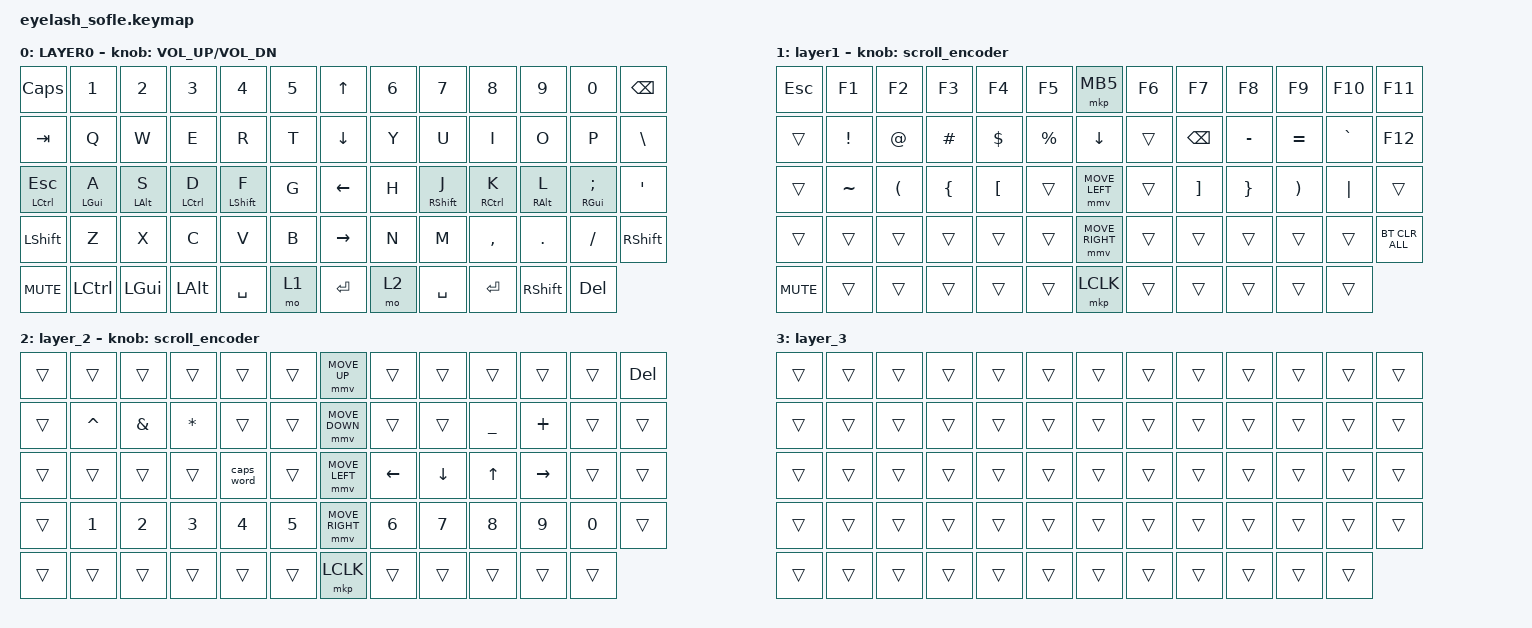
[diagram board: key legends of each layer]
#define ZMK_POINTING_DEFAULT_MOVE_VAL 1200  // 600
#define ZMK_POINTING_DEFAULT_SCRL_VAL 35    // 10

#include <input/processors.dtsi>
#include <zephyr/dt-bindings/input/input-event-codes.h>
#include <behaviors.dtsi>
#include <dt-bindings/zmk/bt.h>
#include <dt-bindings/zmk/keys.h>
#include <dt-bindings/zmk/pointing.h>

/ {
    zip_scroll_scaler: zip_scroll_scaler {
        compatible = "zmk,input-processor-scaler";
        #input-processor-cells = <2>;
        type = <INPUT_EV_REL>;
        codes = <INPUT_REL_WHEEL INPUT_REL_HWHEEL>;
        track-remainders;
    };
};

&mmv_input_listener { input-processors = <&zip_xy_scaler 2 1>; };

&msc_input_listener { input-processors = <&zip_scroll_scaler 2 1>; };

&msc {
    acceleration-exponent = <0>;      // 0
    time-to-max-speed-ms = <0>;       // 300
    delay-ms = <0>;                   // 0
};

&mmv {
    time-to-max-speed-ms = <400>;
    acceleration-exponent = <1>;
};

/ {
    scroll_encoder: scroll_encoder {
        compatible = "zmk,behavior-sensor-rotate";
        #sensor-binding-cells = <0>;
        bindings = <&msc SCRL_DOWN>, <&msc SCRL_UP>;

        tap-ms = <30>;
    };

    behaviors {
        // Homerow mods - matching Kanata config
        // Left hand
        hm_a: homerow_mod_a {
            compatible = "zmk,behavior-hold-tap";
            #binding-cells = <2>;
            flavor = "tap-preferred";
            tapping-term-ms = <200>;
            quick-tap-ms = <200>;
            bindings = <&kp>, <&kp>;
        };
        hm_s: homerow_mod_s {
            compatible = "zmk,behavior-hold-tap";
            #binding-cells = <2>;
            flavor = "tap-preferred";
            tapping-term-ms = <200>;
            quick-tap-ms = <200>;
            bindings = <&kp>, <&kp>;
        };
        hm_d: homerow_mod_d {
            compatible = "zmk,behavior-hold-tap";
            #binding-cells = <2>;
            flavor = "tap-preferred";
            tapping-term-ms = <200>;
            quick-tap-ms = <200>;
            bindings = <&kp>, <&kp>;
        };
        hm_f: homerow_mod_f {
            compatible = "zmk,behavior-hold-tap";
            #binding-cells = <2>;
            flavor = "tap-preferred";
            tapping-term-ms = <200>;
            quick-tap-ms = <200>;
            bindings = <&kp>, <&kp>;
        };
        // Right hand
        hm_j: homerow_mod_j {
            compatible = "zmk,behavior-hold-tap";
            #binding-cells = <2>;
            flavor = "tap-preferred";
            tapping-term-ms = <200>;
            quick-tap-ms = <200>;
            bindings = <&kp>, <&kp>;
        };
        hm_k: homerow_mod_k {
            compatible = "zmk,behavior-hold-tap";
            #binding-cells = <2>;
            flavor = "tap-preferred";
            tapping-term-ms = <200>;
            quick-tap-ms = <200>;
            bindings = <&kp>, <&kp>;
        };
        hm_l: homerow_mod_l {
            compatible = "zmk,behavior-hold-tap";
            #binding-cells = <2>;
            flavor = "tap-preferred";
            tapping-term-ms = <200>;
            quick-tap-ms = <200>;
            bindings = <&kp>, <&kp>;
        };
        hm_semi: homerow_mod_semi {
            compatible = "zmk,behavior-hold-tap";
            #binding-cells = <2>;
            flavor = "tap-preferred";
            tapping-term-ms = <200>;
            quick-tap-ms = <200>;
            bindings = <&kp>, <&kp>;
        };
    };

    combos { compatible = "zmk,combos"; };

    keymap {
        compatible = "zmk,keymap";

        layer0 {
            bindings = <
&kp CAPSLOCK             &kp N1     &kp N2        &kp N3        &kp N4     &kp N5    &kp UP_ARROW     &kp N6  &kp N7     &kp N8     &kp N9           &kp N0      &kp BACKSPACE
&kp TAB                  &kp Q      &kp W         &kp E         &kp R      &kp T     &kp DOWN_ARROW   &kp Y   &kp U      &kp I      &kp O            &kp P       &kp BSLH
&mt LEFT_CONTROL ESCAPE  &hm_a LGUI A      &hm_s LALT S         &hm_d LCTRL D         &hm_f LSHFT F      &kp G     &kp LEFT_ARROW   &kp H   &hm_j RSHFT J      &hm_k RCTRL K      &hm_l RALT L            &hm_semi RGUI SEMI    &kp APOS
&kp LSHFT                &kp Z      &kp X         &kp C         &kp V      &kp B     &kp RIGHT_ARROW  &kp N   &kp M      &kp COMMA  &kp DOT          &kp FSLH    &kp RSHFT
&kp C_MUTE               &kp LCTRL  &kp LEFT_GUI  &kp LEFT_ALT  &kp SPACE  &mo 1     &kp ENTER        &mo 2   &kp SPACE  &kp ENTER  &kp RIGHT_SHIFT  &kp DELETE
            >;

            sensor-bindings = <&inc_dec_kp C_VOLUME_UP C_VOL_DN>;
            display-name = "LAYER0";
        };

        layer_1 {
            bindings = <
&kp ESCAPE  &kp F1           &kp F2                &kp F3          &kp F4            &kp F5         &mkp MB5         &kp F6  &kp F7             &kp F8           &kp F9                 &kp F10    &kp F11
&trans      &kp EXCLAMATION  &kp AT_SIGN           &kp HASH        &kp DOLLAR        &kp PERCENT    &kp DOWN_ARROW   &trans  &kp BACKSPACE      &kp MINUS        &kp EQUAL              &kp GRAVE  &kp F12
&trans      &kp TILDE        &kp LEFT_PARENTHESIS  &kp LEFT_BRACE  &kp LEFT_BRACKET  &trans         &mmv MOVE_LEFT   &trans  &kp RIGHT_BRACKET  &kp RIGHT_BRACE  &kp RIGHT_PARENTHESIS  &kp PIPE   &trans
&trans      &trans           &trans                &trans          &trans            &trans         &mmv MOVE_RIGHT  &trans  &trans             &trans           &trans                 &trans     &bt BT_CLR_ALL
&kp C_MUTE  &trans           &trans                &trans          &trans            &trans         &mkp LCLK        &trans  &trans             &trans           &trans                 &trans
            >;

            display-name = "layer1";
            sensor-bindings = <&scroll_encoder>;
        };

        layer_2 {
            bindings = <
&trans  &trans        &trans         &trans        &trans        &trans    &mmv MOVE_UP     &trans        &trans    &trans          &trans     &trans  &kp DEL
&trans  &kp CARET     &kp AMPERSAND  &kp ASTERISK  &trans        &trans    &mmv MOVE_DOWN   &trans        &trans    &kp UNDERSCORE  &kp PLUS   &trans  &trans
&trans  &trans        &trans         &trans        &caps_word    &trans    &mmv MOVE_LEFT   &kp LEFT      &kp DOWN  &kp UP          &kp RIGHT  &trans  &trans
&trans  &kp NUMBER_1  &kp NUMBER_2   &kp NUMBER_3  &kp NUMBER_4  &kp N5    &mmv MOVE_RIGHT  &kp NUMBER_6  &kp N7    &kp N8          &kp N9     &kp N0  &trans
&trans  &trans        &trans         &trans        &trans        &trans    &mkp LCLK        &trans        &trans    &trans          &trans     &trans
            >;

            sensor-bindings = <&scroll_encoder>;
        };

        layer_3 {
            bindings = <
&trans  &trans  &trans  &trans  &trans  &trans    &trans  &trans  &trans  &trans  &trans  &trans  &trans
&trans  &trans  &trans  &trans  &trans  &trans    &trans  &trans  &trans  &trans  &trans  &trans  &trans
&trans  &trans  &trans  &trans  &trans  &trans    &trans  &trans  &trans  &trans  &trans  &trans  &trans
&trans  &trans  &trans  &trans  &trans  &trans    &trans  &trans  &trans  &trans  &trans  &trans  &trans
&trans  &trans  &trans  &trans  &trans  &trans    &trans  &trans  &trans  &trans  &trans  &trans
            >;
        };
    };
};
